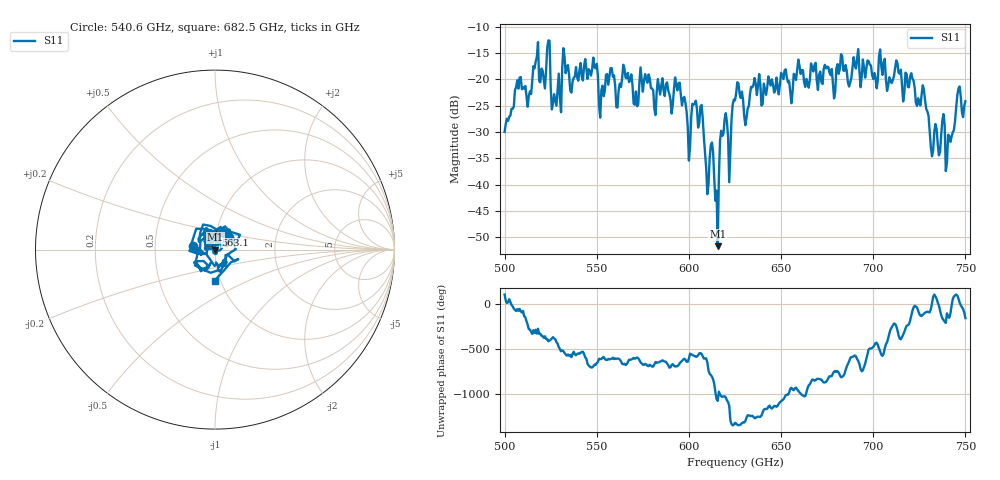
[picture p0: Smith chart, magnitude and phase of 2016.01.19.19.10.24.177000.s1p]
!Created with skrf (http://scikit-rf.org).
# GHz S RI R 50.0
!freq ReS11 ImS11
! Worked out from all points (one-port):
!   401 points, 500 GHz to 750 GHz, reference 50 ohm
!   lowest |S11| = -51.7 dB at 615.6 GHz (marker M1), VSWR 1.01, Z = 50.3 + j0.0265 ohm
!   |S11| at or under -10 dB: start of sweep to end of sweep
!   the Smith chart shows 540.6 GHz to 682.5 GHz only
!   S11 on the Smith chart (normalised r, x): 540.6 GHz: 0.78, +0.03; 563.1 GHz: 1.00, +0.17; 682.5 GHz: 0.94, -0.34
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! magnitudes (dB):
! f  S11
! 500 GHz  -30.0
! 507.5 GHz  -21.7
! 513.1 GHz  -23.1
! 516.9 GHz  -16.6
! 523.8 GHz  -12.6
! 526.9 GHz  -22.8
! 531.2 GHz  -17.8
! 540.6 GHz  -18.2
! 562.5 GHz  -20.8
! 563.1 GHz  -21.5
! 593.8 GHz  -22.1
! 600 GHz  -35.4
! 606.9 GHz  -24.9
! 609.4 GHz  -36.9
! 612.5 GHz  -32.0
! 615.6 GHz  -51.7
! 618.1 GHz  -30.7
! 621.9 GHz  -39.5
! 625 GHz  -24.0
! 656.2 GHz  -22.3
! 682.5 GHz  -15.2
! 687.5 GHz  -20.6
! 718.8 GHz  -21.4
! 727.5 GHz  -22.0
! 731.9 GHz  -34.6
! 740.6 GHz  -30.5
! 746.2 GHz  -21.7
! 750 GHz  -24.1
